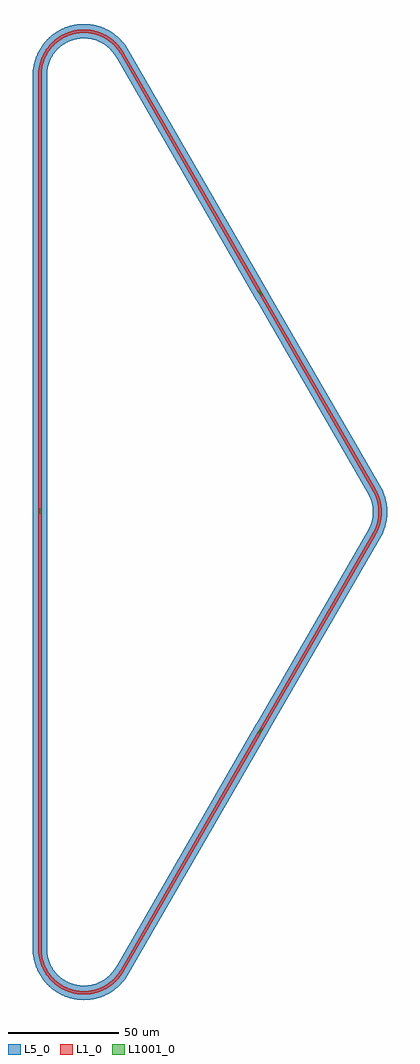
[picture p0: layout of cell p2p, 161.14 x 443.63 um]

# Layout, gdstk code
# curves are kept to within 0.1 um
import gdstk
lib = gdstk.Library(unit=1e-6, precision=1e-09)
def R(c, l, rs):  # rectangles x0, y0, x1, y1
    for r in rs: c.add(gdstk.rectangle(r[:2], r[2:], *l))
def P(c, l, *ps):  # polygons
    for p in ps: c.add(gdstk.Polygon(p, *l))
L1_0 = (1, 0)
L5_0 = (5, 0)
L1001_0 = (1001, 0)

p2p = lib.new_cell('p2p')
R(p2p, L1_0, [(-0.75,-198.564,0.75,0), (-0.75,0,0.75,1), (-0.75,1,0.75,198.564)])
P(p2p, L1_0, [(152.611,-10.375),(101.15,-99.509),(99.85,-98.759),(151.312,-9.625)],
  [(151.312,9.625),(152.611,10.375),(153.263,9.156),(154.659,5.466),(155.088,3.538),(155.358,1.185),(155.298,-1.972),(154.852,-4.7),(153.905,-7.712),(152.611,-10.375),(151.312,-9.625),(152.551,-7.058),(153.353,-4.522),(153.832,-1.52),(153.858,1.14),(153.588,3.405),(153.052,5.622),(152.258,7.76)],
  [(101.15,99.509),(152.611,10.375),(151.312,9.625),(99.85,98.759)],
  [(36.671,-208.189),(99.35,-99.625),(100.65,-100.375),(37.97,-208.939)],
  [(0.75,-198.564),(-0.75,-198.564),(-0.4,-202.365),(0.064,-204.322),(0.868,-206.598),(1.735,-208.412),(3.002,-210.466),(5.327,-213.237),(8.098,-215.562),(11.23,-217.371),(14.629,-218.608),(18.191,-219.236),(21.407,-219.267),(24.589,-218.801),(28.034,-217.696),(31.234,-216.011),(33.795,-214.065),(36.025,-211.748),(37.97,-208.939),(36.671,-208.189),(34.788,-210.889),(32.325,-213.352),(29.457,-215.332),(26.28,-216.762),(23.279,-217.533),(20.581,-217.806),(17.872,-217.697),(14.831,-217.108),(11.923,-216.038),(9.224,-214.516),(6.805,-212.581),(4.727,-210.283),(3.045,-207.681),(1.802,-204.844),(1.031,-201.843)],
  [(37.97,208.939),(100.65,100.375),(99.35,99.625),(36.671,208.189)],
  [(0.75,198.564),(-0.75,198.564),(-0.4,202.365),(0.064,204.322),(0.868,206.598),(1.735,208.412),(3.002,210.466),(5.327,213.237),(8.098,215.562),(11.23,217.371),(14.629,218.608),(18.191,219.236),(21.407,219.267),(24.589,218.801),(28.034,217.696),(31.234,216.011),(33.795,214.065),(36.025,211.748),(37.97,208.939),(36.671,208.189),(34.788,210.889),(32.325,213.352),(29.457,215.332),(26.28,216.762),(23.279,217.533),(20.581,217.806),(17.872,217.697),(14.831,217.108),(11.923,216.038),(9.224,214.516),(6.805,212.581),(4.727,210.283),(3.045,207.681),(1.802,204.844),(1.031,201.843)],
  [(99.35,-99.625),(99.85,-98.759),(101.15,-99.509),(100.65,-100.375)],
  [(100.65,100.375),(101.15,99.509),(99.85,98.759),(99.35,99.625)])
R(p2p, L5_0, [(-3.25,-201.064,3.25,2.5), (-3.25,-2.5,3.25,3.5), (-3.25,-1.5,3.25,201.064)])
P(p2p, L5_0, [(156.026,-9.46),(102.065,-102.924),(96.435,-99.674),(150.397,-6.21)],
  [(149.147,8.375),(154.776,11.625),(155.999,9.188),(156.987,6.422),(157.475,4.381),(157.815,1.887),(157.891,-0.21),(157.732,-2.722),(157.302,-5.203),(156.741,-7.225),(155.83,-9.572),(154.776,-11.625),(149.147,-8.375),(150.167,-6.286),(150.844,-4.249),(151.254,-2.142),(151.392,0),(151.254,2.142),(150.844,4.249),(150.167,6.286)],
  [(102.065,102.924),(156.026,9.46),(150.397,6.21),(96.435,99.674)],
  [(33.256,-209.104),(98.435,-96.21),(104.065,-99.46),(38.885,-212.354)],
  [(3.25,-198.564),(-3.25,-198.564),(-3.133,-200.901),(-2.737,-203.423),(-2.068,-205.886),(-1.306,-207.873),(-0.157,-210.153),(1.235,-212.292),(2.853,-214.267),(4.678,-216.052),(6.687,-217.626),(8.857,-218.971),(10.769,-219.904),(13.164,-220.787),(17.324,-221.66),(21.149,-221.786),(24.942,-221.283),(28.602,-220.165),(32.028,-218.462),(35.129,-216.219),(37.82,-213.498),(40.135,-210.189),(34.506,-206.939),(32.963,-209.173),(30.942,-211.247),(28.594,-212.942),(25.989,-214.207),(23.206,-215.005),(20.326,-215.312),(17.796,-215.169),(14.969,-214.541),(12.292,-213.436),(10.137,-212.103),(8.207,-210.46),(6.547,-208.544),(5.029,-206.078),(4.067,-203.733),(3.469,-201.27)],
  [(38.885,212.354),(104.065,99.46),(98.435,96.21),(33.256,209.104)],
  [(3.25,198.564),(-3.25,198.564),(-3.133,200.901),(-2.737,203.423),(-2.068,205.886),(-1.306,207.873),(-0.157,210.153),(1.235,212.292),(2.853,214.267),(4.678,216.052),(6.687,217.626),(8.857,218.971),(10.769,219.904),(13.164,220.787),(17.324,221.66),(21.149,221.786),(24.942,221.283),(28.602,220.165),(32.028,218.462),(35.129,216.219),(37.82,213.498),(40.135,210.189),(34.506,206.939),(32.963,209.173),(30.942,211.247),(28.594,212.942),(25.989,214.207),(23.206,215.005),(20.326,215.312),(17.796,215.169),(14.969,214.541),(12.292,213.436),(10.137,212.103),(8.207,210.46),(6.547,208.544),(5.029,206.078),(4.067,203.733),(3.469,201.27)],
  [(95.935,-100.54),(98.935,-95.344),(104.565,-98.594),(101.565,-103.79)],
  [(101.565,103.79),(104.565,98.594),(98.935,95.344),(95.935,100.54)])
P(p2p, L1001_0, [(100.5,-99.134),(101.183,-98.951),(100.967,-98.826),(101.067,-98.653),(100.633,-98.403),(100.533,-98.576),(100.317,-98.451)],
  [(100.5,99.134),(101.183,98.951),(100.967,98.826),(101.067,98.653),(100.633,98.403),(100.533,98.576),(100.317,98.451)],
  [(100,-100),(99.317,-100.183),(99.533,-100.308),(99.433,-100.481),(99.867,-100.731),(99.967,-100.558),(100.183,-100.683)],
  [(0,0),(0.5,-0.5),(0.25,-0.5),(0.25,-0.7),(-0.25,-0.7),(-0.25,-0.5),(-0.5,-0.5)],
  [(100,100),(100.183,100.683),(99.967,100.558),(99.867,100.731),(99.433,100.481),(99.533,100.308),(99.317,100.183)],
  [(0,1),(-0.5,1.5),(-0.25,1.5),(-0.25,1.7),(0.25,1.7),(0.25,1.5),(0.5,1.5)],
  [(100.5,-99.134),(99.817,-99.317),(100.033,-99.442),(99.933,-99.615),(100.367,-99.865),(100.467,-99.692),(100.683,-99.817)],
  [(100,-100),(99.817,-99.317),(100.033,-99.442),(100.133,-99.269),(100.567,-99.519),(100.467,-99.692),(100.683,-99.817)],
  [(100.5,99.134),(100.683,99.817),(100.467,99.692),(100.367,99.865),(99.933,99.615),(100.033,99.442),(99.817,99.317)],
  [(100,100),(100.683,99.817),(100.467,99.692),(100.567,99.519),(100.133,99.269),(100.033,99.442),(99.817,99.317)],
  [(0,1),(-0.5,0.5),(-0.25,0.5),(-0.25,0.3),(0.25,0.3),(0.25,0.5),(0.5,0.5)],
  [(0,0),(-0.5,0.5),(-0.25,0.5),(-0.25,0.7),(0.25,0.7),(0.25,0.5),(0.5,0.5)])

lib.write_gds('p2p.gds')
